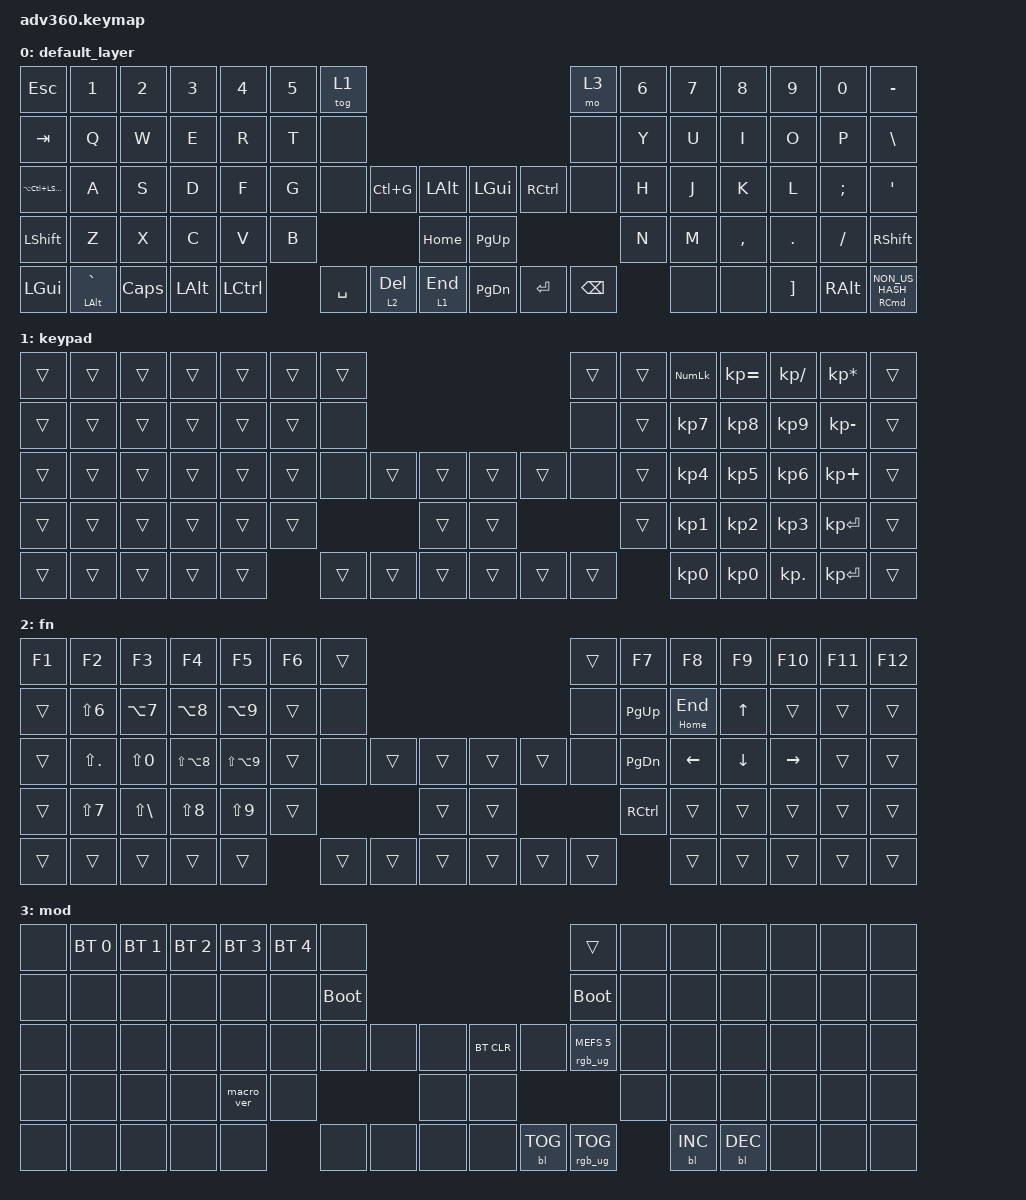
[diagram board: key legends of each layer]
#include <dt-bindings/zmk/stp.h>
#include <behaviors.dtsi>
#include <dt-bindings/zmk/backlight.h>
#include <dt-bindings/zmk/bt.h>
#include <dt-bindings/zmk/keys.h>
#include <dt-bindings/zmk/rgb.h>

/ {
    behaviors {
        #include "macros.dtsi"
      #include "version.dtsi"

        hm: homerow_mods {
            compatible = "zmk,behavior-hold-tap";
            label = "HOMEROW_MODS";
            #binding-cells = <2>;
            tapping-term-ms = <200>;
            quick_tap_ms = <175>;
            flavor = "tap-preferred";
            bindings = <&kp>, <&kp>;
        };
    };

    keymap {
        compatible = "zmk,keymap";

        default_layer {
            bindings = <
&kp ESC             &kp N1              &kp N2    &kp N3        &kp N4            &kp N5  &tog 1                                                        &mo 3          &kp N6  &kp N7  &kp N8     &kp N9             &kp N0         &kp MINUS
&kp TAB             &kp Q               &kp W     &kp E         &kp R             &kp T   &none                                                         &none          &kp Y   &kp U   &kp I      &kp O              &kp P          &kp BSLH
&kp LA(LC(LSHIFT))  &kp A               &kp S     &kp D         &kp F             &kp G   &none      &kp LC(G)     &kp LALT       &kp LGUI   &kp RCTRL  &none          &kp H   &kp J   &kp K      &kp L              &kp SEMI       &kp APOSTROPHE
&kp LSHFT           &kp Z               &kp X     &kp C         &kp V             &kp B                            &kp HOME       &kp PG_UP                            &kp N   &kp M   &kp COMMA  &kp DOT            &kp SLASH      &kp RSHFT
&kp LEFT_GUI        &mt LEFT_ALT GRAVE  &kp CAPS  &kp LEFT_ALT  &kp LEFT_CONTROL          &kp SPACE  &lt 2 DELETE  &lt 1 END      &kp PG_DN  &kp ENTER  &kp BACKSPACE          &none   &none      &kp RIGHT_BRACKET  &kp RIGHT_ALT  &mt RIGHT_COMMAND NON_US_HASH
            >;
        };

        keypad {
            bindings = <
&trans  &trans  &trans  &trans  &trans  &trans  &trans                                      &trans  &trans  &kp KP_NUM       &kp KP_EQUAL     &kp KP_DIVIDE  &kp KP_MULTIPLY  &trans
&trans  &trans  &trans  &trans  &trans  &trans  &none                                       &none   &trans  &kp KP_N7        &kp KP_N8        &kp KP_N9      &kp KP_MINUS     &trans
&trans  &trans  &trans  &trans  &trans  &trans  &none   &trans  &trans      &trans  &trans  &none   &trans  &kp KP_N4        &kp KP_N5        &kp KP_N6      &kp KP_PLUS      &trans
&trans  &trans  &trans  &trans  &trans  &trans                  &trans      &trans                  &trans  &kp KP_N1        &kp KP_N2        &kp KP_N3      &kp KP_ENTER     &trans
&trans  &trans  &trans  &trans  &trans          &trans  &trans  &trans      &trans  &trans  &trans          &kp KP_NUMBER_0  &kp KP_NUMBER_0  &kp KP_DOT     &kp KP_ENTER     &trans
            >;
        };

        fn {
            bindings = <
&kp F1  &kp F2            &kp F3             &kp F4                &kp F5                &kp F6  &trans                                      &trans  &kp F7             &kp F8        &kp F9        &kp F10    &kp F11  &kp F12
&trans  &kp LS(NUMBER_6)  &kp LA(N7)         &kp LA(NUMBER_8)      &kp LA(NUMBER_9)      &trans  &none                                       &none   &kp PAGE_UP        &hm HOME END  &kp UP_ARROW  &trans     &trans   &trans
&trans  &kp LS(PERIOD)    &kp LS(N0)         &kp LS(LA(NUMBER_8))  &kp LS(LA(NUMBER_9))  &trans  &none   &trans  &trans      &trans  &trans  &none   &kp PAGE_DOWN      &kp LEFT      &kp DOWN      &kp RIGHT  &trans   &trans
&trans  &kp LS(NUMBER_7)  &kp LS(BACKSLASH)  &kp LS(NUMBER_8)      &kp LS(NUMBER_9)      &trans                  &trans      &trans                  &kp RIGHT_CONTROL  &trans        &trans        &trans     &trans   &trans
&trans  &trans            &trans             &trans                &trans                        &trans  &trans  &trans      &trans  &trans  &trans                     &trans        &trans        &trans     &trans   &trans
            >;
        };

        mod {
            bindings = <
&none  &bt BT_SEL 0  &bt BT_SEL 1  &bt BT_SEL 2  &bt BT_SEL 3  &bt BT_SEL 4  &none                                                  &trans                  &none  &none       &none       &none  &none  &none
&none  &none         &none         &none         &none         &none         &bootloader                                            &bootloader             &none  &none       &none       &none  &none  &none
&none  &none         &none         &none         &none         &none         &none        &none  &none      &bt BT_CLR  &none       &rgb_ug RGB_MEFS_CMD 5  &none  &none       &none       &none  &none  &none
&none  &none         &none         &none         &macro_ver    &none                             &none      &none                                           &none  &none       &none       &none  &none  &none
&none  &none         &none         &none         &none                       &none        &none  &none      &none       &bl BL_TOG  &rgb_ug RGB_TOG                &bl BL_INC  &bl BL_DEC  &none  &none  &none
            >;
        };
    };
};
